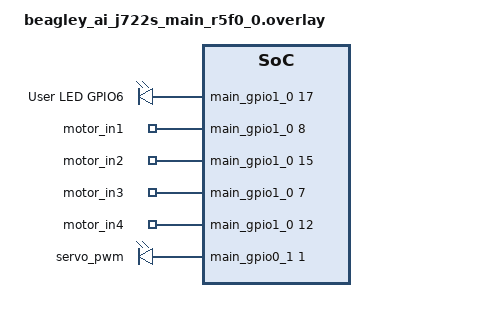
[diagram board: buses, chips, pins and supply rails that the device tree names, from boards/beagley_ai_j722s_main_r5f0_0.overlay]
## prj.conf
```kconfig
CONFIG_KERNEL_BIN_NAME="zephyr_openamp_rsc_table"

# Konsolu UART'a al (firmware konussun)
CONFIG_PRINTK=y
CONFIG_LOG=y
CONFIG_CONSOLE=y
CONFIG_UART_CONSOLE=y
CONFIG_LOG_BACKEND_UART=y
CONFIG_LOG_DEFAULT_LEVEL=4

# IPC / OpenAMP
CONFIG_IPM=y
CONFIG_MAIN_STACK_SIZE=1024
CONFIG_HEAP_MEM_POOL_SIZE=1024
CONFIG_OPENAMP=y
CONFIG_OPENAMP_RSC_TABLE_NUM_RPMSG_BUFF=8
CONFIG_OPENAMP_RSC_TABLE=y
CONFIG_OPENAMP_MASTER=n
CONFIG_OPENAMP_WITH_DCACHE=y

# LED
CONFIG_GPIO=y
CONFIG_PINCTRL=y
CONFIG_SYS_CLOCK_TICKS_PER_SEC=10000

# RPMsg shell kapali (konsol artik UART'ta)
CONFIG_SHELL=n
```

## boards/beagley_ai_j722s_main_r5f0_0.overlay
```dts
#include <zephyr/dt-bindings/gpio/gpio.h>

/ {
	leds {
		compatible = "gpio-leds";
		user_led: led_0 {
			gpios = <&main_gpio1_0 17 GPIO_ACTIVE_HIGH>;
			label = "User LED GPIO6";
		};
	};

	motor_pins {
		compatible = "gpio-leds";
		motor_in1: in1 { gpios = <&main_gpio1_0  8 GPIO_ACTIVE_HIGH>; };
		motor_in2: in2 { gpios = <&main_gpio1_0 15 GPIO_ACTIVE_HIGH>; };
		motor_in3: in3 { gpios = <&main_gpio1_0  7 GPIO_ACTIVE_HIGH>; };
		motor_in4: in4 { gpios = <&main_gpio1_0 12 GPIO_ACTIVE_HIGH>; };
	};

	servo_pins {
		compatible = "gpio-leds";
		servo_pwm: servo { gpios = <&main_gpio0_1 1 GPIO_ACTIVE_HIGH>; };
	};

	aliases {
		led0 = &user_led;
		mtr1 = &motor_in1;
		mtr2 = &motor_in2;
		mtr3 = &motor_in3;
		mtr4 = &motor_in4;
		srv0 = &servo_pwm;
	};
};

&main_gpio1_0 {
	status = "okay";
	pinctrl-0 = <&hat_31_gpio &hat_11_gpio &hat_29_gpio &hat_36_gpio &hat_35_gpio>;
	pinctrl-names = "default";
};

&main_gpio0_1 {
	status = "okay";
	pinctrl-0 = <&hat_13_gpio>;
	pinctrl-names = "default";
};
```

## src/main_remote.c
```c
/*
 * Copyright (c) 2020, STMICROELECTRONICS
 *
 * SPDX-License-Identifier: Apache-2.0
 */

#include <zephyr/kernel.h>
#include <zephyr/device.h>
#include <string.h>
#include <stdio.h>
#include <stdlib.h>

#include <zephyr/drivers/ipm.h>

#include <openamp/open_amp.h>
#include <metal/sys.h>
#include <metal/io.h>
#include <resource_table.h>
#include <addr_translation.h>

#ifdef CONFIG_SHELL_BACKEND_RPMSG
#include <zephyr/shell/shell_rpmsg.h>
#endif

#include <zephyr/drivers/gpio.h>
#include "ipc_proto.h"

#define MTR1_NODE DT_ALIAS(mtr1)
#define MTR2_NODE DT_ALIAS(mtr2)
#define MTR3_NODE DT_ALIAS(mtr3)
#define MTR4_NODE DT_ALIAS(mtr4)
#define SRV0_NODE DT_ALIAS(srv0)

static const struct gpio_dt_spec mtr[4] = {
	GPIO_DT_SPEC_GET(MTR1_NODE, gpios),
	GPIO_DT_SPEC_GET(MTR2_NODE, gpios),
	GPIO_DT_SPEC_GET(MTR3_NODE, gpios),
	GPIO_DT_SPEC_GET(MTR4_NODE, gpios),
};

static const struct gpio_dt_spec servo = GPIO_DT_SPEC_GET(SRV0_NODE, gpios);

#define LED0_NODE DT_ALIAS(led0)
static const struct gpio_dt_spec led = GPIO_DT_SPEC_GET(LED0_NODE, gpios);

#include <zephyr/logging/log.h>
LOG_MODULE_REGISTER(openamp_rsc_table);

#define SHM_DEVICE_NAME	"shm"

#if !DT_HAS_CHOSEN(zephyr_ipc_shm)
#error "Sample requires definition of shared memory for rpmsg"
#endif

#if CONFIG_IPM_MAX_DATA_SIZE > 0
#define	IPM_SEND(dev, w, id, d, s) ipm_send(dev, w, id, d, s)
#else
#define IPM_SEND(dev, w, id, d, s) ipm_send(dev, w, id, NULL, 0)
#endif

#define SHM_NODE		DT_CHOSEN(zephyr_ipc_shm)
#define SHM_START_ADDR	DT_REG_ADDR(SHM_NODE)
#define SHM_SIZE		DT_REG_SIZE(SHM_NODE)

#define APP_TASK_STACK_SIZE (1024)
#define APP_TTY_TASK_STACK_SIZE (1536)

K_THREAD_STACK_DEFINE(thread_mng_stack, APP_TASK_STACK_SIZE);
K_THREAD_STACK_DEFINE(thread_rp__client_stack, APP_TASK_STACK_SIZE);
K_THREAD_STACK_DEFINE(thread_tty_stack, APP_TTY_TASK_STACK_SIZE);

static struct k_thread thread_mng_data;
static struct k_thread thread_rp__client_data;
static struct k_thread thread_tty_data;

static const struct device *const ipm_handle =
	DEVICE_DT_GET(DT_CHOSEN(zephyr_ipc));

static metal_phys_addr_t shm_physmap = SHM_START_ADDR;
static metal_phys_addr_t rsc_tab_physmap;

static struct metal_io_region shm_io_data;
static struct metal_io_region rsc_io_data;

struct rpmsg_rcv_msg {
	void *data;
	size_t len;
};

static struct metal_io_region *shm_io = &shm_io_data;
static struct metal_io_region *rsc_io = &rsc_io_data;
static struct rpmsg_virtio_device rvdev;

static void *rsc_table;
static struct rpmsg_device *rpdev;

static struct rpmsg_endpoint sc_ept;

static struct rpmsg_endpoint tty_ept;
static struct rpmsg_rcv_msg tty_msg;

static K_SEM_DEFINE(data_sem, 0, 1);
static K_SEM_DEFINE(data_sc_sem, 0, 1);
static K_SEM_DEFINE(data_tty_sem, 0, 1);

static void platform_ipm_callback(const struct device *dev, void *context,
				  uint32_t id, volatile void *data)
{
	LOG_DBG("%s: msg received from mb %d", __func__, id);
	k_sem_give(&data_sem);
}

/* ---------------- Komut isleyicileri ---------------- */
/* ---------------- Step motor (28BYJ-48, half-step) ---------------- */

/* IN1 IN2 IN3 IN4 */
static const uint8_t half_step[8][4] = {
	{1,0,0,0},
	{1,1,0,0},
	{0,1,0,0},
	{0,1,1,0},
	{0,0,1,0},
	{0,0,1,1},
	{0,0,0,1},
	{1,0,0,1},
};

#define MOTOR_STACK_SIZE 1024
K_THREAD_STACK_DEFINE(motor_stack, MOTOR_STACK_SIZE);
static struct k_thread motor_thread_data;

static K_SEM_DEFINE(motor_sem, 0, 1);

static volatile int32_t  motor_target;      /* kalan adim (isaretli) */
static volatile int32_t  motor_position;    /* toplam pozisyon */
static volatile uint32_t motor_delay_us = 2000;
static volatile bool     motor_stop_req;
static uint8_t           phase_idx;

static void motor_apply(uint8_t idx)
{
	for (int i = 0; i < 4; i++)
		gpio_pin_set_dt(&mtr[i], half_step[idx][i]);
}

static void motor_release(void)
{
	for (int i = 0; i < 4; i++)
		gpio_pin_set_dt(&mtr[i], 0);
}

static void motor_thread(void *a, void *b, void *c)
{
	ARG_UNUSED(a); ARG_UNUSED(b); ARG_UNUSED(c);

	while (1) {
		k_sem_take(&motor_sem, K_FOREVER);

		while (motor_target != 0 && !motor_stop_req) {
			int dir = (motor_target > 0) ? 1 : -1;

			phase_idx = (phase_idx + (dir > 0 ? 1 : 7)) % 8;
			motor_apply(phase_idx);

			motor_position += dir;
			motor_target   -= dir;

			k_usleep(motor_delay_us);
		}

		motor_release();          /* bosta akim cekmesin, isinmasin */
		motor_stop_req = false;
		LOG_INF("motor durdu, pozisyon=%d", motor_position);
	}
}

/* ---------------- Servo (SG90, yazilim PWM) ---------------- */

#define SERVO_STACK_SIZE   1024
#define SERVO_PERIOD_US    20000    /* 50 Hz */
#define SERVO_MIN_US       500     /* 0 derece */
#define SERVO_MAX_US       2500     /* 180 derece */

K_THREAD_STACK_DEFINE(servo_stack, SERVO_STACK_SIZE);
static struct k_thread servo_thread_data;

static volatile int32_t servo_angle = -1;   /* -1 = kapali */

static void servo_thread(void *a, void *b, void *c)
{
	ARG_UNUSED(a); ARG_UNUSED(b); ARG_UNUSED(c);

	while (1) {
		int32_t ang = servo_angle;

		if (ang < 0) {
			gpio_pin_set_dt(&servo, 0);
			k_msleep(20);
			continue;
		}

		uint32_t pulse = SERVO_MIN_US +
			((SERVO_MAX_US - SERVO_MIN_US) * ang) / 180;

		gpio_pin_set_dt(&servo, 1);
		k_busy_wait(pulse);
		gpio_pin_set_dt(&servo, 0);
		k_usleep(SERVO_PERIOD_US - pulse);
	}
}


static int handle_ping(const struct ipc_cmd *cmd, struct ipc_resp *resp)
{
	ARG_UNUSED(cmd);
	resp->value = 0xABCD;
	LOG_INF("PING -> PONG");
	return RESP_OK;
}

static int handle_led_set(const struct ipc_cmd *cmd, struct ipc_resp *resp)
{
	if (cmd->value != 0 && cmd->value != 1)
		return RESP_ERR_VALUE;

	gpio_pin_set_dt(&led, cmd->value);
	resp->value = cmd->value;
	LOG_INF("LED %s", cmd->value ? "ON" : "OFF");
	return RESP_OK;
}

static int handle_led_get(const struct ipc_cmd *cmd, struct ipc_resp *resp)
{
	ARG_UNUSED(cmd);
	resp->value = gpio_pin_get_dt(&led);
	LOG_INF("LED durumu: %d", resp->value);
	return RESP_OK;
}

static int handle_motor_step(const struct ipc_cmd *cmd, struct ipc_resp *resp)
{
	motor_stop_req = false;
	motor_target   = cmd->value;
	resp->value    = motor_position;
	k_sem_give(&motor_sem);
	LOG_INF("motor: %d adim", cmd->value);
	return RESP_OK;
}

static int handle_motor_stop(const struct ipc_cmd *cmd, struct ipc_resp *resp)
{
	ARG_UNUSED(cmd);
	motor_stop_req = true;
	motor_target   = 0;
	resp->value    = motor_position;
	return RESP_OK;
}

static int handle_motor_get(const struct ipc_cmd *cmd, struct ipc_resp *resp)
{
	ARG_UNUSED(cmd);
	resp->value = motor_position;
	return RESP_OK;
}

static int handle_motor_spd(const struct ipc_cmd *cmd, struct ipc_resp *resp)
{
	if (cmd->value < 1000 || cmd->value > 100000)
		return RESP_ERR_VALUE;

	motor_delay_us = cmd->value;
	resp->value    = cmd->value;
	LOG_INF("motor hizi: %d us/adim", cmd->value);
	return RESP_OK;
}

static int handle_servo_set(const struct ipc_cmd *cmd, struct ipc_resp *resp)
{
	if (cmd->value < 0 || cmd->value > 180)
		return RESP_ERR_VALUE;

	servo_angle = cmd->value;
	resp->value = cmd->value;
	LOG_INF("servo: %d derece", cmd->value);
	return RESP_OK;
}

static int handle_servo_get(const struct ipc_cmd *cmd, struct ipc_resp *resp)
{
	ARG_UNUSED(cmd);
	resp->value = servo_angle;
	return RESP_OK;
}

static int handle_servo_off(const struct ipc_cmd *cmd, struct ipc_resp *resp)
{
	ARG_UNUSED(cmd);
	servo_angle = -1;
	resp->value = -1;
	LOG_INF("servo kapali");
	return RESP_OK;
}

/* ---------------- Komut tablosu ---------------- */

struct cmd_entry {
	uint8_t type;
	int (*handler)(const struct ipc_cmd *cmd, struct ipc_resp *resp);
};

static const struct cmd_entry cmd_table[] = {
	{ CMD_PING,       handle_ping       },
	{ CMD_LED_SET,    handle_led_set    },
	{ CMD_LED_GET,    handle_led_get    },
	{ CMD_MOTOR_STEP, handle_motor_step },
	{ CMD_MOTOR_STOP, handle_motor_stop },
	{ CMD_MOTOR_GET,  handle_motor_get  },
	{ CMD_MOTOR_SPD,  handle_motor_spd  },
	{ CMD_SERVO_SET,  handle_servo_set  },
	{ CMD_SERVO_GET,  handle_servo_get  },
	{ CMD_SERVO_OFF,  handle_servo_off  },
};

static int dispatch(const struct ipc_cmd *cmd, struct ipc_resp *resp)
{
	resp->version = IPC_PROTO_VERSION;
	resp->type    = cmd->type;
	resp->value   = 0;

	if (cmd->version != IPC_PROTO_VERSION) {
		LOG_ERR("versiyon uyusmuyor: %u (beklenen %u)",
			cmd->version, IPC_PROTO_VERSION);
		return RESP_ERR_VER;
	}

	for (size_t i = 0; i < ARRAY_SIZE(cmd_table); i++) {
		if (cmd_table[i].type == cmd->type)
			return cmd_table[i].handler(cmd, resp);
	}

	LOG_ERR("bilinmeyen komut: 0x%02x", cmd->type);
	return RESP_ERR_CMD;
}

static int rpmsg_recv_cs_callback(struct rpmsg_endpoint *ept, void *data,
				  size_t len, uint32_t src, void *priv)
{
	struct ipc_cmd cmd;
	struct ipc_resp resp;

	if (len < sizeof(cmd)) {
		LOG_ERR("kisa paket: %u byte (beklenen %u)",
			(unsigned int)len, (unsigned int)sizeof(cmd));
		return RPMSG_SUCCESS;
	}

	memcpy(&cmd, data, sizeof(cmd));
	resp.status = dispatch(&cmd, &resp);
	rpmsg_send(ept, &resp, sizeof(resp));

	return RPMSG_SUCCESS;
}

static int rpmsg_recv_tty_callback(struct rpmsg_endpoint *ept, void *data,
				   size_t len, uint32_t src, void *priv)
{
	struct rpmsg_rcv_msg *msg = priv;

	rpmsg_hold_rx_buffer(ept, data);
	msg->data = data;
	msg->len = len;
	k_sem_give(&data_tty_sem);

	return RPMSG_SUCCESS;
}

static void receive_message(unsigned char **msg, unsigned int *len)
{
	int status = k_sem_take(&data_sem, K_FOREVER);

	if (status == 0) {
		rproc_virtio_notified(rvdev.vdev, VRING1_ID);
	}
}

static void new_service_cb(struct rpmsg_device *rdev, const char *name,
			   uint32_t src)
{
	LOG_ERR("%s: unexpected ns service receive for name %s",
		__func__, name);
}

int mailbox_notify(void *priv, uint32_t id)
{
	ARG_UNUSED(priv);

	LOG_DBG("%s: msg received", __func__);
	IPM_SEND(ipm_handle, 0, id, &id, 4);

	return 0;
}

int platform_init(void)
{
	int rsc_size;
	struct metal_init_params metal_params = METAL_INIT_DEFAULTS;
	int status;

	status = metal_init(&metal_params);
	if (status) {
		LOG_ERR("metal_init: failed: %d", status);
		return -1;
	}

	metal_io_init(shm_io, (void *)SHM_START_ADDR, &shm_physmap,
		      SHM_SIZE, -1, 0, addr_translation_get_ops(shm_physmap));

	rsc_table_get(&rsc_table, &rsc_size);
	rsc_tab_physmap = (uintptr_t)rsc_table;

	metal_io_init(rsc_io, rsc_table,
		      &rsc_tab_physmap, rsc_size, -1, 0, NULL);

	if (!device_is_ready(ipm_handle)) {
		LOG_ERR("IPM device is not ready");
		return -1;
	}

	ipm_register_callback(ipm_handle, platform_ipm_callback, NULL);

	status = ipm_set_enabled(ipm_handle, 1);
	if (status) {
		LOG_ERR("ipm_set_enabled failed");
		return -1;
	}

	return 0;
}

static void cleanup_system(void)
{
	ipm_set_enabled(ipm_handle, 0);
	rpmsg_deinit_vdev(&rvdev);
	metal_finish();
}

struct  rpmsg_device *
platform_create_rpmsg_vdev(unsigned int vdev_index,
			   unsigned int role,
			   void (*rst_cb)(struct virtio_device *vdev),
			   rpmsg_ns_bind_cb ns_cb)
{
	struct fw_rsc_vdev_vring *vring_rsc;
	struct virtio_device *vdev;
	int ret;

	vdev = rproc_virtio_create_vdev(VIRTIO_DEV_DEVICE, VDEV_ID,
					rsc_table_to_vdev(rsc_table),
					rsc_io, NULL, mailbox_notify, NULL);

	if (!vdev) {
		LOG_ERR("failed to create vdev");
		return NULL;
	}

	rproc_virtio_wait_remote_ready(vdev);

	vring_rsc = rsc_table_get_vring0(rsc_table);
	ret = rproc_virtio_init_vring(vdev, 0, vring_rsc->notifyid,
				      (void *)vring_rsc->da, rsc_io,
				      vring_rsc->num, vring_rsc->align);
	if (ret) {
		LOG_ERR("failed to init vring 0");
		goto failed;
	}

	vring_rsc = rsc_table_get_vring1(rsc_table);
	ret = rproc_virtio_init_vring(vdev, 1, vring_rsc->notifyid,
				      (void *)vring_rsc->da, rsc_io,
				      vring_rsc->num, vring_rsc->align);
	if (ret) {
		LOG_ERR("failed to init vring 1");
		goto failed;
	}

	ret = rpmsg_init_vdev(&rvdev, vdev, ns_cb, shm_io, NULL);
	if (ret) {
		LOG_ERR("failed rpmsg_init_vdev");
		goto failed;
	}

	return rpmsg_virtio_get_rpmsg_device(&rvdev);

failed:
	rproc_virtio_remove_vdev(vdev);

	return NULL;
}

void app_rpmsg_client_sample(void *arg1, void *arg2, void *arg3)
{
	ARG_UNUSED(arg1);
	ARG_UNUSED(arg2);
	ARG_UNUSED(arg3);

	int ret = 0;

	k_sem_take(&data_sc_sem,  K_FOREVER);

	LOG_INF("OpenAMP[remote] Linux sample client responder started");

	ret = rpmsg_create_ept(&sc_ept, rpdev, "rpmsg-client-sample",
			       RPMSG_ADDR_ANY, RPMSG_ADDR_ANY,
			       rpmsg_recv_cs_callback, NULL);
	if (ret) {
		LOG_ERR("[Linux sample client] Could not create endpoint: %d", ret);
		return;
	}

	/* Endpoint kuruldu. Isler artik callback icinde donuyor. */
	k_sleep(K_FOREVER);
}

void app_rpmsg_tty(void *arg1, void *arg2, void *arg3)
{
	ARG_UNUSED(arg1);
	ARG_UNUSED(arg2);
	ARG_UNUSED(arg3);

	unsigned char tx_buff[512];
	int ret = 0;

	k_sem_take(&data_tty_sem,  K_FOREVER);

	LOG_INF("OpenAMP[remote] Linux TTY responder started");

	tty_ept.priv = &tty_msg;
	ret = rpmsg_create_ept(&tty_ept, rpdev, "rpmsg-tty",
			       RPMSG_ADDR_ANY, RPMSG_ADDR_ANY,
			       rpmsg_recv_tty_callback, NULL);
	if (ret) {
		LOG_ERR("[Linux TTY] Could not create endpoint: %d", ret);
		goto task_end;
	}

	while (tty_ept.addr !=  RPMSG_ADDR_ANY) {
		k_sem_take(&data_tty_sem,  K_FOREVER);
		if (tty_msg.len) {
			LOG_INF("[Linux TTY] incoming msg: %.*s",
				(int)tty_msg.len, (char *)tty_msg.data);
			snprintf(tx_buff, 13, "TTY 0x%04x: ", tty_ept.addr);
			memcpy(&tx_buff[12], tty_msg.data, tty_msg.len);
			rpmsg_send(&tty_ept, tx_buff, tty_msg.len + 12);
			rpmsg_release_rx_buffer(&tty_ept, tty_msg.data);
		}
		tty_msg.len = 0;
		tty_msg.data = NULL;
	}
	rpmsg_destroy_ept(&tty_ept);

task_end:
	LOG_INF("OpenAMP Linux TTY responder ended");
}

void rpmsg_mng_task(void *arg1, void *arg2, void *arg3)
{
	ARG_UNUSED(arg1);
	ARG_UNUSED(arg2);
	ARG_UNUSED(arg3);

	unsigned char *msg;
	unsigned int len;
	int ret = 0;

	LOG_INF("OpenAMP[remote] Linux responder demo started");

	ret = platform_init();
	if (ret) {
		LOG_ERR("Failed to initialize platform");
		ret = -1;
		goto task_end;
	}

	rpdev = platform_create_rpmsg_vdev(0, VIRTIO_DEV_DEVICE, NULL,
					   new_service_cb);
	if (!rpdev) {
		LOG_ERR("Failed to create rpmsg virtio device");
		ret = -1;
		goto task_end;
	}

#ifdef CONFIG_SHELL_BACKEND_RPMSG
	(void)shell_backend_rpmsg_init_transport(rpdev);
#endif

	k_sem_give(&data_sc_sem);
	k_sem_give(&data_tty_sem);

	while (1) {
		receive_message(&msg, &len);
	}

task_end:
	cleanup_system();

	LOG_INF("OpenAMP demo ended");
}

int main(void)
{
	LOG_INF("Starting application threads!");

	if (gpio_is_ready_dt(&led)) {
		gpio_pin_configure_dt(&led, GPIO_OUTPUT_INACTIVE);
		LOG_INF("LED (GPIO6) hazir");
	} else {
		LOG_ERR("LED cihazi hazir DEGIL");
	}

	if (gpio_is_ready_dt(&servo)) {
		gpio_pin_configure_dt(&servo, GPIO_OUTPUT_INACTIVE);
		LOG_INF("servo pini hazir");
	} else {
		LOG_ERR("servo pini hazir DEGIL");
	}

	for (int i = 0; i < 4; i++) {
		if (!gpio_is_ready_dt(&mtr[i])) {
			LOG_ERR("motor pin %d hazir DEGIL", i);
		} else {
			gpio_pin_configure_dt(&mtr[i], GPIO_OUTPUT_INACTIVE);
		}
	}
	LOG_INF("motor pinleri hazir");

	k_thread_create(&motor_thread_data, motor_stack, MOTOR_STACK_SIZE,
			motor_thread, NULL, NULL, NULL,
			K_PRIO_COOP(5), 0, K_NO_WAIT);

	k_thread_create(&servo_thread_data, servo_stack, SERVO_STACK_SIZE,
			servo_thread, NULL, NULL, NULL,
			K_PRIO_COOP(4), 0, K_NO_WAIT);

	k_thread_create(&thread_mng_data, thread_mng_stack, APP_TASK_STACK_SIZE,
			rpmsg_mng_task,
			NULL, NULL, NULL, K_PRIO_COOP(8), 0, K_NO_WAIT);
	k_thread_create(&thread_rp__client_data, thread_rp__client_stack, APP_TASK_STACK_SIZE,
			app_rpmsg_client_sample,
			NULL, NULL, NULL, K_PRIO_COOP(7), 0, K_NO_WAIT);
	k_thread_create(&thread_tty_data, thread_tty_stack, APP_TTY_TASK_STACK_SIZE,
			app_rpmsg_tty,
			NULL, NULL, NULL, K_PRIO_COOP(7), 0, K_NO_WAIT);
	return 0;
}
```
